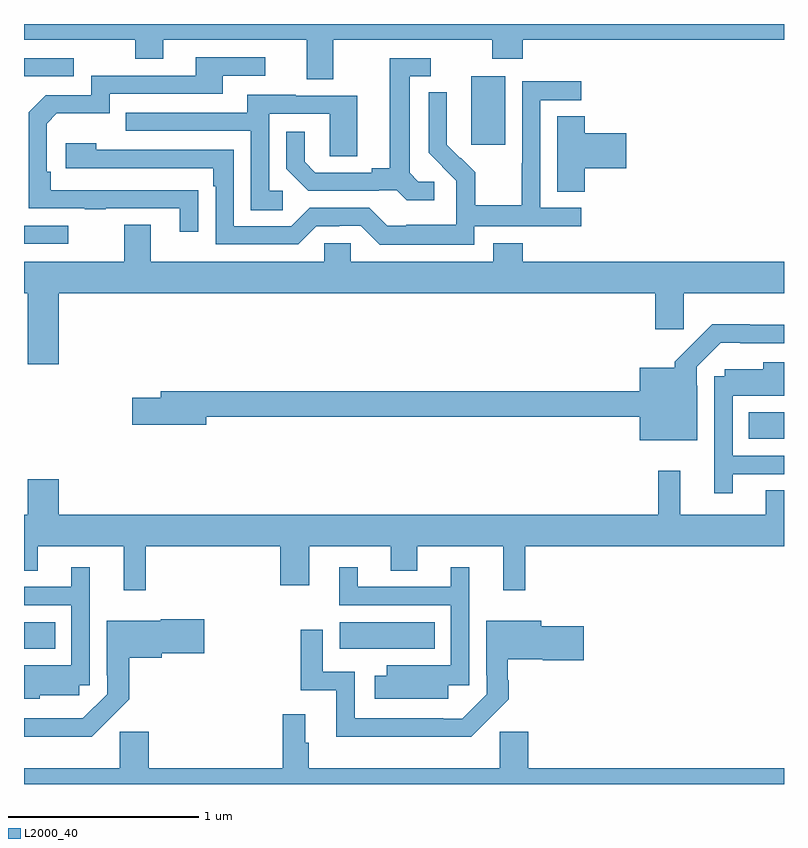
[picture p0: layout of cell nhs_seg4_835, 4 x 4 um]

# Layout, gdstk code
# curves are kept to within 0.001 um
import gdstk
lib = gdstk.Library(unit=1e-6, precision=1e-09)
def R(c, l, rs):  # rectangles x0, y0, x1, y1
    for r in rs: c.add(gdstk.rectangle(r[:2], r[2:], *l))
def P(c, l, *ps):  # polygons
    for p in ps: c.add(gdstk.Polygon(p, *l))
L2000_40 = (2000, 40)

nhs_seg4_835 = lib.new_cell('nhs_seg4_835')
R(nhs_seg4_835, L2000_40, [(153,797.612,153.164,797.752), (154.662,797.612,155.162,797.752), (156.814,798.716,157,798.856), (153,799.743,153.232,799.839), (155.354,800.265,155.533,800.626), (153,800.625,153.262,800.721)])
P(nhs_seg4_835, L2000_40, [(154.627,800.816),(155.464,800.816),(155.464,800.717),(155.624,800.717),(155.624,800.816),(157,800.816),(157,800.9),(153,800.9),(153,800.816),(153.586,800.816),(153.586,800.717),(153.733,800.717),(153.733,800.816),(154.487,800.816),(154.487,800.608),(154.627,800.608)],
  [(153.917,800.024),(153.14,800.025),(153.14,800.122),(153.12,800.122),(153.12,800.376),(153.173,800.429),(153.45,800.429),(153.45,800.532),(154.045,800.532),(154.045,800.628),(154.27,800.628),(154.27,800.724),(153.905,800.724),(153.905,800.628),(153.354,800.628),(153.354,800.526),(153.114,800.526),(153.024,800.436),(153.024,799.929),(153.319,799.929),(153.319,799.924),(153.431,799.924),(153.431,799.929),(153.821,799.929),(153.821,799.806),(153.917,799.806)],
  [(155.158,800.07),(155.076,800.07),(155.029,800.117),(155.029,800.625),(155.14,800.625),(155.14,800.721),(154.925,800.721),(154.925,800.141),(154.829,800.141),(154.829,800.118),(154.534,800.118),(154.477,800.175),(154.477,800.332),(154.38,800.332),(154.38,800.138),(154.496,800.022),(154.868,800.022),(154.868,800.025),(154.962,800.025),(155.014,799.973),(155.158,799.973)],
  [(155.37,799.836),(155.932,799.836),(155.932,799.932),(155.718,799.932),(155.718,800.499),(155.932,800.499),(155.932,800.598),(155.622,800.598),(155.622,800.168),(155.62,800.168),(155.62,799.945),(155.375,799.945),(155.375,800.119),(155.298,800.196),(155.295,800.193),(155.225,800.264),(155.226,800.54),(155.13,800.54),(155.13,800.222),(155.276,800.074),(155.276,799.977),(155.274,799.977),(155.274,799.843),(155.011,799.843),(155.011,799.839),(154.911,799.839),(154.818,799.932),(154.503,799.932),(154.407,799.836),(154.104,799.836),(154.104,800.238),(153.38,800.238),(153.38,800.272),(153.219,800.272),(153.219,800.142),(153.995,800.142),(153.995,800.045),(154.008,800.045),(154.008,799.74),(154.443,799.74),(154.539,799.836),(154.658,799.836),(154.658,799.839),(154.773,799.839),(154.873,799.739),(155.37,799.739)],
  [(154.363,800.022),(154.29,800.022),(154.29,800.427),(154.608,800.427),(154.608,800.203),(154.753,800.203),(154.753,800.523),(154.429,800.523),(154.429,800.527),(154.175,800.527),(154.175,800.433),(153.535,800.433),(153.535,800.337),(154.194,800.337),(154.194,799.921),(154.363,799.921)],
  [(155.951,800.141),(156.169,800.141),(156.169,800.324),(155.951,800.324),(155.951,800.414),(155.807,800.414),(155.807,800.017),(155.951,800.017)],
  [(153.184,799.484),(156.323,799.484),(156.323,799.293),(156.473,799.293),(156.473,799.484),(157,799.484),(157,799.648),(155.624,799.648),(155.624,799.747),(155.471,799.747),(155.471,799.648),(154.719,799.648),(154.719,799.746),(154.581,799.746),(154.581,799.648),(153.667,799.648),(153.667,799.843),(153.527,799.843),(153.527,799.648),(153,799.648),(153,799.484),(153.02,799.484),(153.02,799.11),(153.184,799.11)],
  [(156.544,798.995),(156.54,798.995),(156.54,799.095),(156.668,799.223),(156.769,799.223),(156.769,799.221),(157,799.221),(157,799.318),(156.821,799.318),(156.821,799.321),(156.622,799.321),(156.425,799.123),(156.425,799.09),(156.242,799.09),(156.242,798.968),(153.719,798.968),(153.719,798.932),(153.57,798.932),(153.57,798.79),(153.958,798.79),(153.958,798.832),(156.242,798.832),(156.242,798.71),(156.544,798.71)],
  [(156.73,798.531),(157,798.531),(157,798.627),(156.729,798.627),(156.729,798.944),(157,798.944),(157,799.12),(156.89,799.12),(156.89,799.084),(156.687,799.084),(156.687,799.047),(156.633,799.047),(156.633,798.429),(156.73,798.429)],
  [(153.641,798.152),(154.349,798.152),(154.349,797.946),(154.501,797.946),(154.501,798.152),(154.931,798.152),(154.931,798.022),(155.071,798.022),(155.071,798.152),(155.522,798.152),(155.522,797.919),(155.639,797.919),(155.639,798.152),(157,798.152),(157,798.446),(156.905,798.446),(156.905,798.316),(156.455,798.316),(156.455,798.55),(156.337,798.55),(156.337,798.316),(153.184,798.316),(153.184,798.505),(153.02,798.505),(153.02,798.316),(153,798.316),(153,798.022),(153.073,798.022),(153.073,798.152),(153.524,798.152),(153.524,797.919),(153.641,797.919)],
  [(155.233,797.421),(155.343,797.421),(155.343,798.04),(155.246,798.04),(155.246,797.937),(154.756,797.937),(154.756,798.04),(154.658,798.04),(154.658,797.841),(155.247,797.841),(155.247,797.524),(154.91,797.524),(154.91,797.47),(154.845,797.47),(154.845,797.348),(155.233,797.348)],
  [(153.084,797.366),(153.291,797.366),(153.291,797.421),(153.345,797.421),(153.345,798.04),(153.248,798.04),(153.248,797.937),(153,797.937),(153,797.841),(153.249,797.841),(153.249,797.524),(153,797.524),(153,797.348),(153.084,797.348)],
  [(153.554,797.345),(153.554,797.564),(153.724,797.564),(153.724,797.588),(153.949,797.588),(153.949,797.766),(153.72,797.766),(153.72,797.758),(153.435,797.758),(153.435,797.473),(153.438,797.473),(153.438,797.373),(153.31,797.245),(153.209,797.245),(153.209,797.247),(153,797.247),(153,797.15),(153.157,797.15),(153.157,797.148),(153.356,797.148)],
  [(155.552,797.345),(155.552,797.447),(155.545,797.447),(155.545,797.557),(155.73,797.557),(155.73,797.552),(155.947,797.552),(155.947,797.73),(155.722,797.73),(155.722,797.758),(155.433,797.758),(155.433,797.473),(155.436,797.473),(155.436,797.373),(155.307,797.244),(155.207,797.244),(155.207,797.247),(154.74,797.247),(154.74,797.49),(154.572,797.49),(154.572,797.713),(154.456,797.713),(154.456,797.394),(154.643,797.394),(154.643,797.15),(155.155,797.15),(155.155,797.148),(155.354,797.148)],
  [(157,796.984),(155.654,796.984),(155.654,797.175),(155.503,797.175),(155.503,796.984),(154.499,796.984),(154.499,797.117),(154.48,797.117),(154.48,797.266),(154.363,797.266),(154.363,796.984),(153.656,796.984),(153.656,797.175),(153.505,797.175),(153.505,796.984),(153,796.984),(153,796.9),(157,796.9)])

lib.write_gds('nhs_seg4_835.gds')
